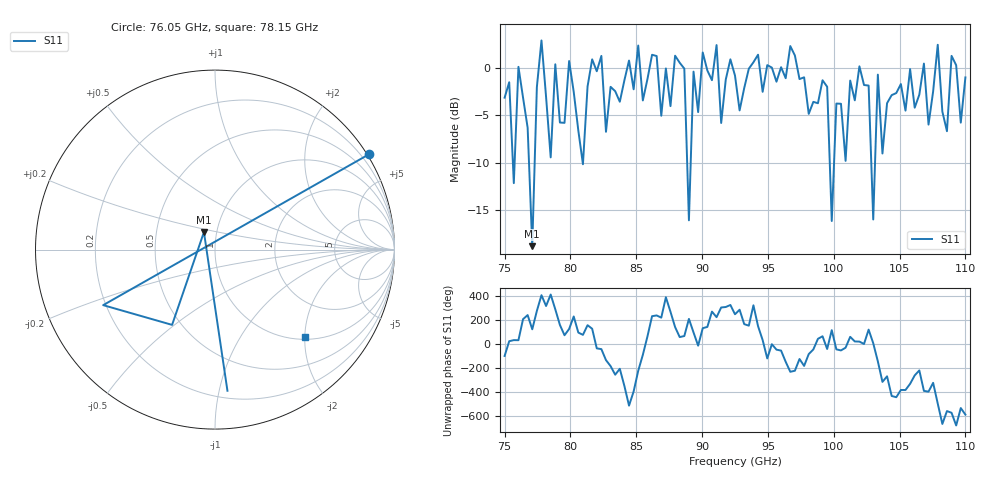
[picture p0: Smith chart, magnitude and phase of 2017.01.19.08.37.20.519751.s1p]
!Created with skrf (http://scikit-rf.org).
# GHz S RI R 50.0
!freq ReS11 ImS11
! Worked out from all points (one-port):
!   101 points, 75 GHz to 110 GHz, reference 50 ohm
!   lowest |S11| = -18.8 dB at 77.1 GHz (marker M1), VSWR 1.26, Z = 43.4 + j8.58 ohm
!   |S11| at or under -10 dB: 75.62943 GHz to 75.76123 GHz (131.8 MHz wide, 0.174 % of centre); 76.85 GHz to 77.28 GHz (430 MHz wide, 0.558 % of centre); 80.93475 GHz to 80.9566 GHz (21.86 MHz wide, 0.027 % of centre) (the widest 3 of 6)
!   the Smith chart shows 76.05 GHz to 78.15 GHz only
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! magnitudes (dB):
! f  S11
! 75 GHz  -3.2
! 75.7 GHz  -12.1
! 76.05 GHz  0.1
! 77.1 GHz  -18.8
! 77.8 GHz  2.8
! 78.5 GHz  -9.4
! 78.85 GHz  0.3
! 79.55 GHz  -5.8
! 79.9 GHz  0.7
! 80.95 GHz  -10.2
! 83.75 GHz  -3.6
! 88.3 GHz  0.5
! 88.65 GHz  -0.1
! 89 GHz  -16.0
! 89.35 GHz  -0.4
! 92.5 GHz  -0.8
! 97.05 GHz  1.3
! 99.5 GHz  -2.0
! 99.85 GHz  -16.1
! 100.2 GHz  -3.8
! 100.9 GHz  -9.8
! 101.2 GHz  -1.4
! 102.7 GHz  -1.9
! 103 GHz  -16.0
! 103.3 GHz  -0.7
! 103.7 GHz  -9.0
! 105.8 GHz  -0.2
! 110 GHz  -1.0
